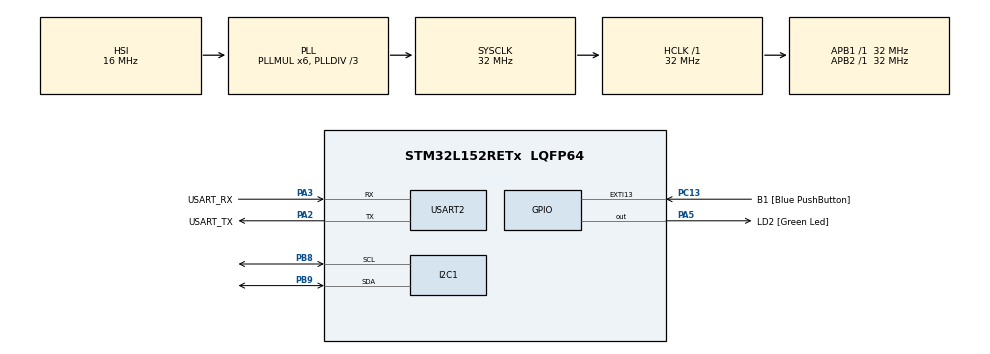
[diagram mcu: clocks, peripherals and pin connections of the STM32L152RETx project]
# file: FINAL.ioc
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Mcu.Family=STM32L1
Mcu.Name=STM32L152RETx
Mcu.Package=LQFP64
NVIC.PriorityGroup=NVIC_PRIORITYGROUP_0
PA13.GPIO_Label=TMS
PA13.Mode=Serial_Wire
PA13.Signal=SYS_JTMS-SWDIO
PA14.GPIO_Label=TCK
PA14.Mode=Serial_Wire
PA14.Signal=SYS_JTCK-SWCLK
PA2.GPIO_Label=USART_TX
PA2.Mode=Asynchronous
PA2.Signal=USART2_TX
PA3.GPIO_Label=USART_RX
PA3.Mode=Asynchronous
PA3.Signal=USART2_RX
PA5.GPIO_Label=LD2 [Green Led]
PA5.Signal=GPIO_Output
PB3.GPIO_Label=SWO
PB3.Signal=SYS_JTDO-TRACESWO
PB8.Mode=I2C
PB8.Signal=I2C1_SCL
PB9.Mode=I2C
PB9.Signal=I2C1_SDA
PC13-WKUP2.GPIO_Label=B1 [Blue PushButton]
PC13-WKUP2.Signal=GPXTI13
PC14-OSC32_IN.Mode=LSE-External-Oscillator
PC14-OSC32_IN.Signal=RCC_OSC32_IN
PC15-OSC32_OUT.Mode=LSE-External-Oscillator
PC15-OSC32_OUT.Signal=RCC_OSC32_OUT
PH0-OSC_IN.Mode=HSE-External-Clock-Source
PH0-OSC_IN.Signal=RCC_OSC_IN
PH1-OSC_OUT.Signal=RCC_OSC_OUT
ProjectManager.HeapSize=0x200
ProjectManager.StackSize=0x400
ProjectManager.TargetToolchain=STM32CubeIDE
RCC.48MHZClocksFreq_Value=48000000
RCC.AHBFreq_Value=32000000
RCC.APB1Freq_Value=32000000
RCC.APB1TimFreq_Value=32000000
RCC.APB2Freq_Value=32000000
RCC.APB2TimFreq_Value=32000000
RCC.HCLKFreq_Value=32000000
RCC.HSE_VALUE=8000000
RCC.HSI_VALUE=16000000
RCC.MSI_VALUE=2097000
RCC.PLLDIV=RCC_PLL_DIV3
RCC.PLLMUL=RCC_PLL_MUL6
RCC.RTCClockSelectionVirtual=RCC_RTCCLKSOURCE_LSE
RCC.SYSCLKFreq_VALUE=32000000
RCC.SYSCLKSource=RCC_SYSCLKSOURCE_PLLCLK
RCC.USBOutput=48000000
RCC.VCOOutputFreq_Value=96000000
USART2.VirtualMode=VM_ASYNC
board=NUCLEO-L152RE

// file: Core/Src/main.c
    /* USER CODE BEGIN Header */
/**
  ******************************************************************************
  * @file           : main.c
  * @brief          : Main program body
  ******************************************************************************
  * @attention
  *
  * Copyright (c) 2023 STMicroelectronics.
  * All rights reserved.
  *
  * This software is licensed under terms that can be found in the LICENSE file
  * in the root directory of this software component.
  * If no LICENSE file comes with this software, it is provided AS-IS.
  *
  ******************************************************************************
  */
/* USER CODE END Header */
#include "main.h"
#include "i2c.h"
#include "usart.h"
#include "gpio.h"

/* USER CODE BEGIN Includes */
#include "lib_lcd.h"
#define _OPEN_SYS_ITOA_EXT
#include <stdlib.h>
#include <string.h>
#include <stdio.h>

/* USER CODE END Includes */

/* USER CODE BEGIN PV */

// Adresse de capteur
static const uint8_t CAPTEUR_ADRS = 0x44 << 1;
// Adresse de bit fort
static const uint8_t CAPTEUR_CMD_MSB = 0x24;
// Adresse de bit faible
static const uint8_t CAPTEUR_CMD_LSB = 0x16;
static rgb_lcd lcdData;
/* USER CODE END PV */

void SystemClock_Config(void);

int main(void)
{
  /* USER CODE BEGIN 1 */

	// Declaration des variables
	HAL_StatusTypeDef ret;
		uint8_t buf[12];
		volatile uint16_t value;
		volatile uint16_t value1;
		volatile float temp;
		float umid;
		float Decimal_part;
		float Entier_part;

  /* USER CODE END 1 */

  /* MCU Configuration--------------------------------------------------------*/

  /* Reset of all peripherals, Initializes the Flash interface and the Systick. */
  HAL_Init();

  /* Configure the system clock */
  SystemClock_Config();

  /* Initialize all configured peripherals */
  MX_GPIO_Init();
  MX_USART2_UART_Init();
  MX_I2C1_Init();

  /* USER CODE BEGIN 2 */

  // Initialisation de LCD
    lcd_init(&hi2c1,&lcdData);
    lcd_position(&hi2c1,0,0);

  /* USER CODE END 2 */

  /* Infinite loop */
  while (1)
  {

	  	  	  // Valeur de bit fort stocké dans le buf [0]
	  	  	buf[0] = CAPTEUR_CMD_MSB;
	  	  	  // Valeur de bit faible stocké dans le buf [1]
	  		buf[1] = CAPTEUR_CMD_LSB;
	  		// Debut de transmission de I2C "WRITE" dans l'I2C avec l'adresse de capteur pour recevoir les données de capteur
	  		ret = HAL_I2C_Master_Transmit( &hi2c1, CAPTEUR_ADRS, buf, 2, HAL_MAX_DELAY);

	  		// Echec de communcation
	  		if ( ret != HAL_OK)
	  		{
	  			strcpy((char*)buf, "erreur_T!!\r\n");
	  		}

	  		// Communication reussite
	  			else
	  		{

	  		ret = HAL_I2C_Master_Receive( &hi2c1, CAPTEUR_ADRS, buf, 6, HAL_MAX_DELAY);

	  		// Echec de communcation
	  					if ( ret != HAL_OK)
	  				{
	  					strcpy((char*)buf, "erreur_R!!\r\n");
	  				}
	  		// Communication reussite
	  		else
	  		{
	  			// Decodage de MSB & LSB et socké dans la valeur
	  			value  =   buf[1] | buf[0] << 8;

	  			// Calcul exacte de la valeur de temperature
	  			temp = -45 + 175 * ( (float)value / 65535);

	  			// Transformation de valeur pour la partie entier et decimale
	  			Entier_part = (int) temp;
	  			Decimal_part = temp;
	  			Decimal_part *= 100;
	  			Decimal_part = Decimal_part - (Entier_part * 100);

	  			// On stocke la valeur de temperature dans le byte  buf[4] et buf[3]
	  			value = buf[4] | buf[3] << 8;

	  			// Calcul exacte de la valeur de l'humidité
	  			umid = -49 + 315 *( (float)value / 65535);

	  			//:::::::::::::::::::::::::::::::::::::::::: PARTIE LCD ::::::::::::::::::::::::::::::::::::::::::::::::::://

	  			// Affichage des valeurs dans le LCD
	  			sprintf( (char*)buf, "%u.%u C ; %u D", (unsigned int) Entier_part,(unsigned int) Decimal_part,(unsigned int) umid  );
	  			lcd_position(&hi2c1,0,0);
	  			lcd_print(&hi2c1,"Temp : ");
	  			lcd_position(&hi2c1,7,0);
	  			lcd_print(&hi2c1,buf);
	  			lcd_position(&hi2c1,0,1);
	  			lcd_print(&hi2c1,"Hum: ");
	  			lcd_position(&hi2c1,7,1);
	  			lcd_print(&hi2c1,&buf[10]);

	  		}
	  		}
	  		HAL_UART_Transmit(&huart2, buf, strlen((char*)buf), HAL_MAX_DELAY);
	  		HAL_Delay(1000);

  }
}

void SystemClock_Config(void)
{
  RCC_OscInitTypeDef RCC_OscInitStruct = {0};
  RCC_ClkInitTypeDef RCC_ClkInitStruct = {0};
  RCC_PeriphCLKInitTypeDef PeriphClkInit = {0};

  /** Configure the main internal regulator output voltage
  */
  __HAL_PWR_VOLTAGESCALING_CONFIG(PWR_REGULATOR_VOLTAGE_SCALE1);
  /** Initializes the RCC Oscillators according to the specified parameters
  * in the RCC_OscInitTypeDef structure.
  */
  RCC_OscInitStruct.OscillatorType = RCC_OSCILLATORTYPE_HSI;
  RCC_OscInitStruct.HSIState = RCC_HSI_ON;
  RCC_OscInitStruct.HSICalibrationValue = RCC_HSICALIBRATION_DEFAULT;
  RCC_OscInitStruct.PLL.PLLState = RCC_PLL_ON;
  RCC_OscInitStruct.PLL.PLLSource = RCC_PLLSOURCE_HSI;
  RCC_OscInitStruct.PLL.PLLMUL = RCC_PLL_MUL6;
  RCC_OscInitStruct.PLL.PLLDIV = RCC_PLL_DIV3;
  if (HAL_RCC_OscConfig(&RCC_OscInitStruct) != HAL_OK)
  {
    Error_Handler();
  }
  /** Initializes the CPU, AHB and APB buses clocks
  */
  RCC_ClkInitStruct.ClockType = RCC_CLOCKTYPE_HCLK|RCC_CLOCKTYPE_SYSCLK
                              |RCC_CLOCKTYPE_PCLK1|RCC_CLOCKTYPE_PCLK2;
  RCC_ClkInitStruct.SYSCLKSource = RCC_SYSCLKSOURCE_PLLCLK;
  RCC_ClkInitStruct.AHBCLKDivider = RCC_SYSCLK_DIV1;
  RCC_ClkInitStruct.APB1CLKDivider = RCC_HCLK_DIV1;
  RCC_ClkInitStruct.APB2CLKDivider = RCC_HCLK_DIV1;

  if (HAL_RCC_ClockConfig(&RCC_ClkInitStruct, FLASH_LATENCY_1) != HAL_OK)
  {
    Error_Handler();
  }
}

void Error_Handler(void)
{
  __disable_irq();
  while (1)
  {
  }
}
